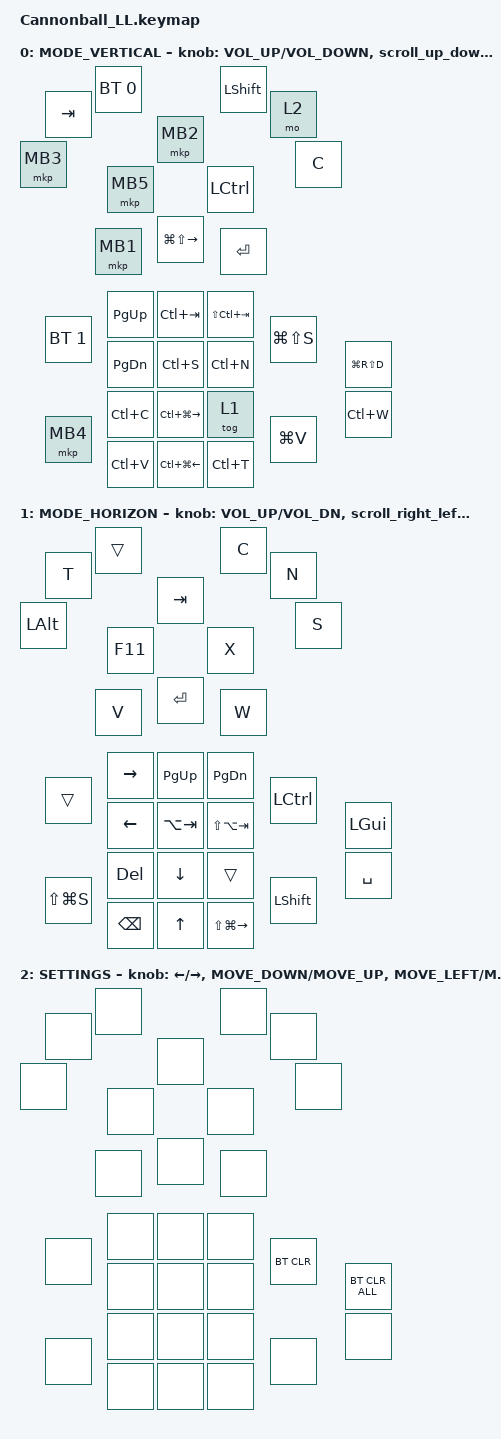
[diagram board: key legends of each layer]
#include <dt-bindings/zmk/input_transform.h>
#include <behaviors.dtsi>
#include <dt-bindings/zmk/bt.h>
#include <dt-bindings/zmk/keys.h>
#include <dt-bindings/zmk/pointing.h>

#define DEFAULT_WIN 0
#define DEFAULT_MAC 1
#define SCROLL 2

// エンコーダスクロール用には効果なし
// #define ZMK_MOUSE_SCRL_VAL 100
// #define ZMK_MOUSE_DEFAULT_SCRL_VAL 100

// マウススクロールにはコレ？
#define ZMK_POINTING_DEFAULT_SCRL_VAL 100

/ {
    /* Behaviors */
    // スクロール設定

    msc {
        // エンコーダ回転での SCRL_UP/DOWN には効果がないっぽい
        // センサー側の設定？
        acceleration-exponent = <1>;      // 0
        time-to-max-speed-ms = <200>;     // 300
        delay-ms = <1>;                   // 10
    };

    behaviors {
        // エンコーダー：キー
        rot_kp: sensor_rotate_kp {
            compatible = "zmk,behavior-sensor-rotate-var";
            #sensor-binding-cells = <2>;
            bindings = <&kp>, <&kp>;
        };

        // エンコーダー：マウススクロール
        rot_msc: sensor_rotate_msc {
            compatible = "zmk,behavior-sensor-rotate-var";
            #sensor-binding-cells = <2>;
            tap-ms = <20>;
            bindings = <&msc>, <&msc>;
        };

        // エンコーダー：マウススクロール(SCRL_UP/DOWN 専用)
        scroll_up_down: sensor_rotate_msc_for_scrl {
            compatible = "zmk,behavior-sensor-rotate";
            #sensor-binding-cells = <0>;
            bindings = <&msc SCRL_UP>, <&msc SCRL_DOWN>;

            tap-ms = <20>;
        };

        scroll_right_left: behavior_sensor_rotate_mouse_wheel_right_left {
            compatible = "zmk,behavior-sensor-rotate";
            #sensor-binding-cells = <0>;
            bindings = <&msc SCRL_RIGHT>, <&msc SCRL_LEFT>;

            tap-ms = <20>;
        };

        scroll_left_right: behavior_sensor_rotate_mouse_wheel_left_right {
            compatible = "zmk,behavior-sensor-rotate";
            #sensor-binding-cells = <0>;
            bindings = <&msc SCRL_LEFT>, <&msc SCRL_RIGHT>;

            tap-ms = <20>;
        };

        // エンコーダー：マウススクロール(MOVE_Y 専用)
        scroll_move_y: sensor_rotate_msc_for_move_y {
            compatible = "zmk,behavior-sensor-rotate";
            #sensor-binding-cells = <0>;
            bindings = <&msc MOVE_Y(20)>, <&msc MOVE_Y(-20)>;

            // tap-ms下限メモ Yの値で可変: Y(15) <81>, Y(20) <65>, Y(25) <49>
            tap-ms = <65>;
        };

        // エンコーダー：マウススクロール(MOVE_X 専用)
        scroll_move_x: sensor_rotate_msc_for_move_x {
            compatible = "zmk,behavior-sensor-rotate";
            #sensor-binding-cells = <0>;
            bindings = <&msc MOVE_X(20)>, <&msc MOVE_X(-20)>;

            // tap-ms下限メモ Xの値で可変: X(15) <81>, X(20) <65>, X(25) <49>
            tap-ms = <65>;
        };
    };

    /* キーマップ */

    combos {
        compatible = "zmk,combos";

        cmb_esc_v {
            bindings = <&kp ESCAPE>;
            key-positions = <17 18>;
        };

        cmb_bksp {
            bindings = <&kp BACKSPACE>;
            key-positions = <18 19>;
        };

        cmb_esc_h {
            bindings = <&kp ESCAPE>;
            key-positions = <21 26>;
        };
    };

    keymap {
        compatible = "zmk,keymap";

        // WINDOWS用

        MODE_VERTICAL {
            bindings = <
&kp LS(LC(TAB))    &kp LC(N)
&tog 1             &kp LC(T)
&kp LC(TAB)        &kp LC(S)
&kp LC(LG(RIGHT))
&kp LC(LG(LEFT))
&kp PAGE_UP
&kp PAGE_DOWN
&kp LC(C)          &kp LC(V)
&mkp MB1           &kp ENTER          &mkp MB2
&mkp MB5           &kp LG(LS(RIGHT))
&kp LCTRL          &mkp MB3           &kp TAB
&bt BT_SEL 0
&kp LSHIFT         &mo 2              &kp C          &bt BT_SEL 1
&mkp MB4
&kp LG(LS(S))      &kp LG(V)          &kp LG(RS(D))  &kp LC(W)
            >;

            sensor-bindings =
                <&rot_kp C_VOLUME_UP C_VOLUME_DOWN>,
                <&scroll_up_down>,
                <&scroll_right_left>;
                //<&rot_msc MOVE_DOWN MOVE_UP>,
                //<&scroll_up_down SCRL_UP SCRL_DOWN>,
        };

        // MacOS用

        MODE_HORIZON {
            bindings = <
&kp PAGE_DOWN  &kp LS(LA(TAB))
&trans         &kp LS(LG(RIGHT))
&kp PAGE_UP    &kp LA(TAB)
&kp DOWN
&kp UP_ARROW
&kp RIGHT
&kp LEFT
&kp DELETE     &kp BACKSPACE
&kp V          &kp W              &kp TAB
&kp F11        &kp ENTER
&kp X          &kp LEFT_ALT       &kp T
&trans
&kp C          &kp N              &kp S     &trans
&kp LS(LG(S))
&kp LCTRL      &kp LSHIFT         &kp LGUI  &kp SPACE
            >;

            sensor-bindings =
                <&rot_kp C_VOL_UP C_VOL_DN>,
                <&scroll_right_left>,
                <&scroll_up_down>;
        };

        // BT設定、スクロールレイヤー

        SETTINGS {
            bindings = <
&none       &none
&none       &none
&none       &none
&none
&none
&none
&none
&none       &none
&none       &none  &none
&none       &none
&none       &none  &none
&none
&none       &none  &none           &none
&none
&bt BT_CLR  &none  &bt BT_CLR_ALL  &none
            >;

            sensor-bindings =
                <&rot_kp LEFT RIGHT>,
                <&rot_msc MOVE_DOWN MOVE_UP>,
                <&rot_msc MOVE_LEFT MOVE_RIGHT>;
        };
    };
};
